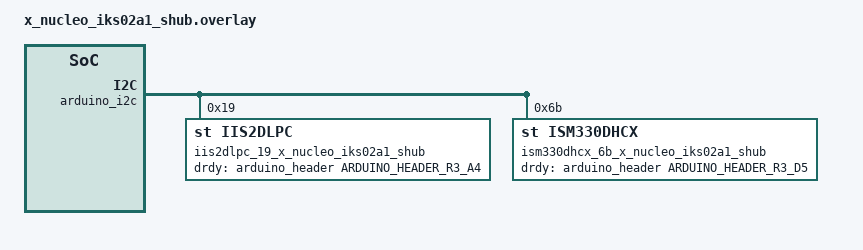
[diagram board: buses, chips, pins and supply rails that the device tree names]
/*
 * Copyright (c) 2020 STMicroelectronics
 *
 * SPDX-License-Identifier: Apache-2.0
 */

/*
 * Mode 2: SensorHub Mode
 *
 *   JP7 => 2-3 (I2C1 = I2Cx)
 *   JP8 => 2-3 (I2C1 = I2Cx)
 *
 * Only ISM330DHCX and IIS2DLPC sensors are accessible from the main board mcu.
 * IIS2MDC is connected directly to ISM330DHCX SCx/SDX (I2Cx) pins, so it is not
 * declared in DTS file.
 */

#include <zephyr/dt-bindings/gpio/arduino-header-r3.h>

/ {
	aliases {
		accel0 = &iis2dlpc_19_x_nucleo_iks02a1_shub;
		accel1 = &ism330dhcx_6b_x_nucleo_iks02a1_shub;
	};
};

&arduino_i2c {
	iis2dlpc_19_x_nucleo_iks02a1_shub: iis2dlpc@19 {
		compatible = "st,iis2dlpc";
		reg = <0x19>;
		drdy-gpios = <&arduino_header ARDUINO_HEADER_R3_A4 GPIO_ACTIVE_HIGH>;
		drdy-int = <2>;
	};

	ism330dhcx_6b_x_nucleo_iks02a1_shub: ism330dhcx@6b {
		compatible = "st,ism330dhcx";
		reg = <0x6b>;
		drdy-gpios = <&arduino_header ARDUINO_HEADER_R3_D5 GPIO_ACTIVE_HIGH>;
		int-pin = <2>;
	};
};
